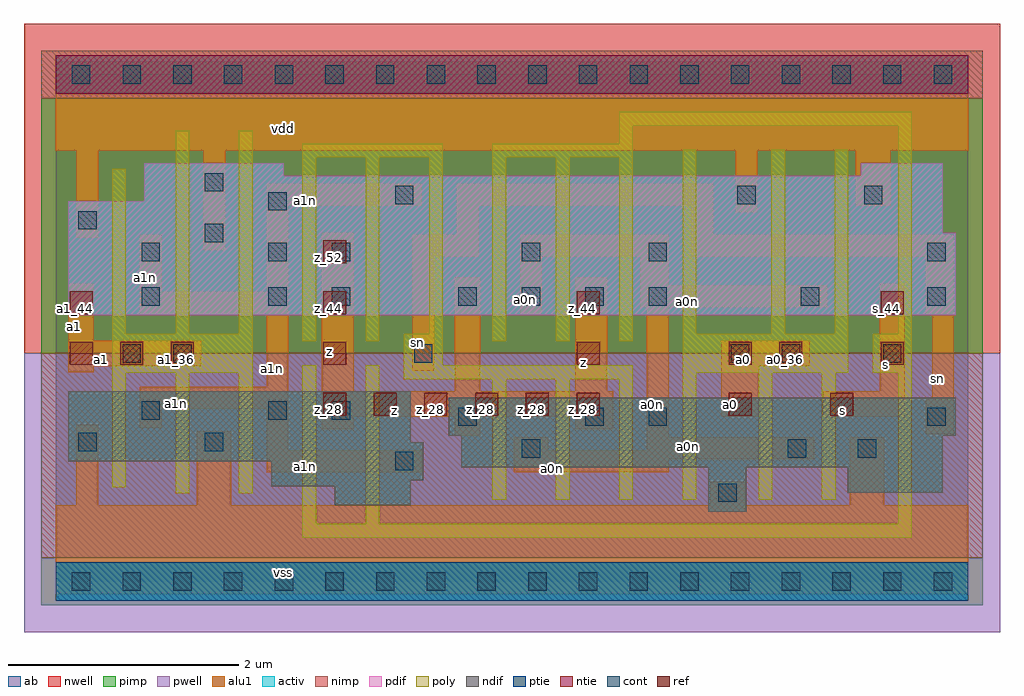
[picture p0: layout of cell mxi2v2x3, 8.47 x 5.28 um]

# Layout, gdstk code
import gdstk
lib = gdstk.Library(unit=1e-6, precision=2.5e-09)
def R(c, l, rs):  # rectangles x0, y0, x1, y1
    for r in rs: c.add(gdstk.rectangle(r[:2], r[2:], *l))
def A(c, l, x, y, w, h, nx, ny, dx, dy):  # array of equal rectangles
    R(c, l, [(x+i*dx, y+j*dy, x+i*dx+w, y+j*dy+h) for i in range(nx) for j in range(ny)])
ndif = (3, 0)
pdif = (4, 0)
ntie = (5, 0)
ptie = (6, 0)
ref = (24, 0)
cont = (25, 0)
pwell = (41, 0)
nwell = (42, 0)
activ = (43, 0)
pimp = (44, 0)
nimp = (45, 0)
poly = (46, 0)
alu1 = (49, 0)
ab = (63, 0)

mxi2v2x3 = lib.new_cell('mxi2v2x3')
R(mxi2v2x3, ndif, [(5.665,0.605,5.995,0.99), (2.42,0.66,3.08,0.825), (6.875,0.77,7.7,0.99), (1.87,0.825,3.08,0.88), (1.87,0.88,3.19,1.045), (3.52,0.99,7.7,1.265), (0.11,1.045,3.19,1.21), (0.11,1.21,3.08,1.65), (3.41,1.265,7.81,1.595)])
R(mxi2v2x3, pdif, [(0.11,2.31,7.81,3.025), (0.11,3.025,7.7,3.3), (0.77,3.3,7.7,3.52), (0.77,3.52,1.98,3.63), (6.985,3.52,7.7,3.63)])
R(mxi2v2x3, ntie, [(0,4.235,7.92,4.565)])
R(mxi2v2x3, ptie, [(0,-0.165,7.92,0.165)])
A(mxi2v2x3, ref, 2.32, 1.44, 0.2, 0.2, 6, 1, 0.44, 0)
A(mxi2v2x3, ref, 0.12, 1.88, 0.2, 0.2, 3, 1, 0.44, 0)
A(mxi2v2x3, ref, 0.12, 2.32, 0.2, 0.2, 3, 1, 2.2, 0)
R(mxi2v2x3, ref, [(5.84,1.44,6.04,1.64), (6.72,1.44,6.92,1.64), (2.32,1.88,2.52,2.08), (4.52,1.88,4.72,2.08), (5.84,1.88,6.04,2.08), (6.28,1.88,6.48,2.08), (7.16,1.88,7.36,2.08), (7.16,2.32,7.36,2.52), (2.32,2.76,2.52,2.96)])
A(mxi2v2x3, cont, 0.14, -0.08, 0.16, 0.16, 18, 2, 0.44, 4.4)
A(mxi2v2x3, cont, 3.495, 2.395, 0.16, 0.16, 4, 1, 0.55, 0)
R(mxi2v2x3, cont, [(5.75,0.69,5.91,0.85), (2.945,0.965,3.105,1.125), (4.045,1.075,4.205,1.235), (6.355,1.075,6.515,1.235), (6.96,1.075,7.12,1.235), (0.195,1.13,0.355,1.29), (1.295,1.13,1.455,1.29), (3.495,1.35,3.655,1.51), (4.595,1.35,4.755,1.51), (5.145,1.35,5.305,1.51), (7.565,1.35,7.725,1.51), (0.745,1.405,0.905,1.565), (1.845,1.405,2.005,1.565), (2.395,1.405,2.555,1.565), (0.58,1.9,0.74,2.06), (1.02,1.9,1.18,2.06), (3.11,1.9,3.27,2.06), (5.86,1.9,6.02,2.06), (6.3,1.9,6.46,2.06), (7.18,1.9,7.34,2.06), (0.745,2.395,0.905,2.555), (1.845,2.395,2.005,2.555), (2.395,2.395,2.555,2.555), (6.465,2.395,6.625,2.555), (7.565,2.395,7.725,2.555), (0.745,2.78,0.905,2.94), (1.845,2.78,2.005,2.94), (2.395,2.78,2.555,2.94), (4.045,2.78,4.205,2.94), (5.145,2.78,5.305,2.94), (7.565,2.78,7.725,2.94), (1.295,2.945,1.455,3.105), (0.195,3.055,0.355,3.215), (1.845,3.22,2.005,3.38), (2.945,3.275,3.105,3.435), (5.915,3.275,6.075,3.435), (7.015,3.275,7.175,3.435), (1.295,3.385,1.455,3.545)])
R(mxi2v2x3, pwell, [(-0.275,-0.44,8.195,1.98)])
R(mxi2v2x3, nwell, [(-0.275,1.98,8.195,4.84)])
R(mxi2v2x3, activ, [(0,-0.165,7.92,0.165), (5.665,0.605,5.995,0.99), (2.42,0.66,3.08,0.825), (6.875,0.77,7.7,0.99), (1.87,0.825,3.08,0.88), (1.87,0.88,3.19,1.045), (3.52,0.99,7.7,1.265), (0.11,1.045,3.19,1.21), (0.11,1.21,3.08,1.65), (3.41,1.265,7.81,1.595), (0.11,2.31,7.81,3.025), (0.11,3.025,7.7,3.3), (0.77,3.3,7.7,3.52), (0.77,3.52,1.98,3.63), (6.985,3.52,7.7,3.63), (0,4.235,7.92,4.565)])
R(mxi2v2x3, pimp, [(-0.125,-0.205,8.045,0.205), (-0.125,1.98,8.045,4.195)])
R(mxi2v2x3, nimp, [(-0.125,0.205,8.045,1.98), (-0.125,4.195,8.045,4.605)])
A(mxi2v2x3, poly, 3.79, 0.71, 0.12, 1.045, 3, 1, 0.55, 0)
A(mxi2v2x3, poly, 3.79, 2.085, 0.12, 1.595, 3, 1, 0.55, 0)
R(mxi2v2x3, poly, [(2.14,0.38,7.43,0.5), (2.14,0.5,2.26,1.875), (2.69,0.5,2.81,1.875), (7.31,0.5,7.43,1.81), (5.44,0.71,5.56,1.81), (6.1,0.71,6.22,1.81), (6.65,0.71,6.77,1.81), (1.04,0.765,1.16,1.81), (1.59,0.765,1.71,1.81), (0.49,0.82,0.61,1.81), (3.02,1.755,5.01,1.875), (0.49,1.81,1.71,2.15), (5.44,1.81,6.88,2.15), (7.09,1.81,7.43,2.15), (3.02,1.875,3.36,2.15), (2.14,2.085,2.26,3.68), (2.69,2.085,2.81,3.68), (0.49,2.15,0.61,3.58), (1.04,2.15,1.16,3.91), (1.59,2.15,1.71,3.91), (3.24,2.15,3.36,3.68), (5.44,2.15,5.56,3.745), (6.21,2.15,6.33,3.745), (6.76,2.15,6.88,3.745), (7.31,2.15,7.43,3.955), (2.14,3.68,3.36,3.8), (3.79,3.68,5.01,3.8), (4.89,3.8,5.01,3.955), (4.89,3.955,7.43,4.075)])
R(mxi2v2x3, alu1, [(0,-0.11,7.92,0.66), (0.18,0.66,0.37,1.36), (1.225,0.66,1.525,1.305), (5.68,0.66,5.98,0.865), (6.89,0.66,7.19,1.25), (1.83,0.95,3.175,1.14), (3.975,0.95,5.32,1.06), (3.975,1.06,6.585,1.14), (1.83,1.14,2.02,1.5), (3.975,1.14,4.275,1.25), (5.13,1.14,6.585,1.25), (5.13,1.25,5.32,2.38), (3.465,1.265,3.685,1.43), (7.55,1.28,7.795,1.58), (2.31,1.32,2.585,1.43), (4.51,1.32,4.84,1.43), (0.73,1.335,0.92,1.5), (2.31,1.43,4.84,1.65), (5.775,1.43,6.105,1.87), (6.655,1.43,7.37,1.65), (0.73,1.5,2.02,1.69), (7.605,1.58,7.795,2.325), (2.31,1.65,2.585,3.025), (3.465,1.65,3.685,2.64), (4.51,1.65,4.785,2.64), (7.15,1.65,7.37,2.585), (1.83,1.69,2.02,2.325), (0.11,1.815,0.33,1.87), (3.095,1.83,3.285,2.82), (0.11,1.87,1.265,2.09), (5.775,1.87,6.545,2.09), (0.11,2.09,0.33,2.585), (0.73,2.325,2.02,2.515), (4.03,2.325,4.22,2.82), (7.55,2.325,7.795,2.82), (5.075,2.38,6.695,2.57), (0.73,2.515,0.92,3.01), (1.83,2.515,2.02,3.26), (5.075,2.57,5.32,2.82), (3.095,2.82,3.67,3.01), (4.03,2.82,5.32,3.01), (5.515,2.82,7.795,3.01), (1.28,2.875,1.47,3.74), (0.18,2.985,0.37,3.74), (3.48,3.01,3.67,3.26), (5.515,3.01,5.705,3.26), (5.9,3.205,6.09,3.74), (1.83,3.26,3.175,3.45), (3.48,3.26,5.705,3.45), (6.945,3.26,7.245,3.74), (0,3.74,7.92,4.51)])
R(mxi2v2x3, ab, [(0,0,7.92,4.4)])
mxi2v2x3.add(gdstk.Label('vss', (1.98,0.0825), layer=49, texttype=0))
mxi2v2x3.add(gdstk.Label('a0n', (4.31,0.9775), layer=49, texttype=0))
mxi2v2x3.add(gdstk.Label('a1n', (2.165,0.9975), layer=49, texttype=0))
mxi2v2x3.add(gdstk.Label('a0n', (5.4925,1.1675), layer=49, texttype=0))
mxi2v2x3.add(gdstk.Label('sn', (7.6525,1.765), layer=49, texttype=0))
mxi2v2x3.add(gdstk.Label('s', (6.8325,1.485), layer=49, texttype=0))
mxi2v2x3.add(gdstk.Label('s', (7.205,1.8825), layer=49, texttype=0))
mxi2v2x3.add(gdstk.Label('a0', (5.8575,1.54), layer=49, texttype=0))
mxi2v2x3.add(gdstk.Label('a0', (5.9675,1.925), layer=49, texttype=0))
mxi2v2x3.add(gdstk.Label('a0n', (5.1775,1.5325), layer=49, texttype=0))
mxi2v2x3.add(gdstk.Label('z', (2.9425,1.485), layer=49, texttype=0))
mxi2v2x3.add(gdstk.Label('a0n', (5.48,2.4275), layer=49, texttype=0))
mxi2v2x3.add(gdstk.Label('z', (4.5775,1.8975), layer=49, texttype=0))
mxi2v2x3.add(gdstk.Label('a0n', (4.0775,2.4475), layer=49, texttype=0))
mxi2v2x3.add(gdstk.Label('sn', (3.1425,2.0775), layer=49, texttype=0))
mxi2v2x3.add(gdstk.Label('z', (2.3775,1.9925), layer=49, texttype=0))
mxi2v2x3.add(gdstk.Label('a1n', (1.0525,1.5475), layer=49, texttype=0))
mxi2v2x3.add(gdstk.Label('a1n', (1.8775,1.8475), layer=49, texttype=0))
mxi2v2x3.add(gdstk.Label('a1', (0.3975,1.925), layer=49, texttype=0))
mxi2v2x3.add(gdstk.Label('a1n', (2.165,3.3075), layer=49, texttype=0))
mxi2v2x3.add(gdstk.Label('a1n', (0.7775,2.6375), layer=49, texttype=0))
mxi2v2x3.add(gdstk.Label('a1', (0.165,2.2125), layer=49, texttype=0))
mxi2v2x3.add(gdstk.Label('vdd', (1.98,3.9325), layer=49, texttype=0))
mxi2v2x3.add(gdstk.Label('z_28', (2.81,1.49), layer=24, texttype=0))
mxi2v2x3.add(gdstk.Label('z_44', (4.57,2.37), layer=24, texttype=0))
mxi2v2x3.add(gdstk.Label('z_28', (2.37,1.49), layer=24, texttype=0))
mxi2v2x3.add(gdstk.Label('s_36', (7.21,1.93), layer=24, texttype=0))
mxi2v2x3.add(gdstk.Label('s_28', (6.77,1.49), layer=24, texttype=0))
mxi2v2x3.add(gdstk.Label('s_44', (7.21,2.37), layer=24, texttype=0))
mxi2v2x3.add(gdstk.Label('z_28', (3.25,1.49), layer=24, texttype=0))
mxi2v2x3.add(gdstk.Label('z_28', (3.69,1.49), layer=24, texttype=0))
mxi2v2x3.add(gdstk.Label('z_36', (4.57,1.93), layer=24, texttype=0))
mxi2v2x3.add(gdstk.Label('z_28', (4.13,1.49), layer=24, texttype=0))
mxi2v2x3.add(gdstk.Label('z_28', (4.57,1.49), layer=24, texttype=0))
mxi2v2x3.add(gdstk.Label('z_52', (2.37,2.81), layer=24, texttype=0))
mxi2v2x3.add(gdstk.Label('z_44', (2.37,2.37), layer=24, texttype=0))
mxi2v2x3.add(gdstk.Label('z_36', (2.37,1.93), layer=24, texttype=0))
mxi2v2x3.add(gdstk.Label('a0_36', (6.33,1.93), layer=24, texttype=0))
mxi2v2x3.add(gdstk.Label('a0_36', (5.89,1.93), layer=24, texttype=0))
mxi2v2x3.add(gdstk.Label('a0_28', (5.89,1.49), layer=24, texttype=0))
mxi2v2x3.add(gdstk.Label('a1_36', (1.05,1.93), layer=24, texttype=0))
mxi2v2x3.add(gdstk.Label('a1_36', (0.61,1.93), layer=24, texttype=0))
mxi2v2x3.add(gdstk.Label('a1_36', (0.17,1.93), layer=24, texttype=0))
mxi2v2x3.add(gdstk.Label('a1_44', (0.17,2.37), layer=24, texttype=0))

lib.write_gds('mxi2v2x3.gds')
